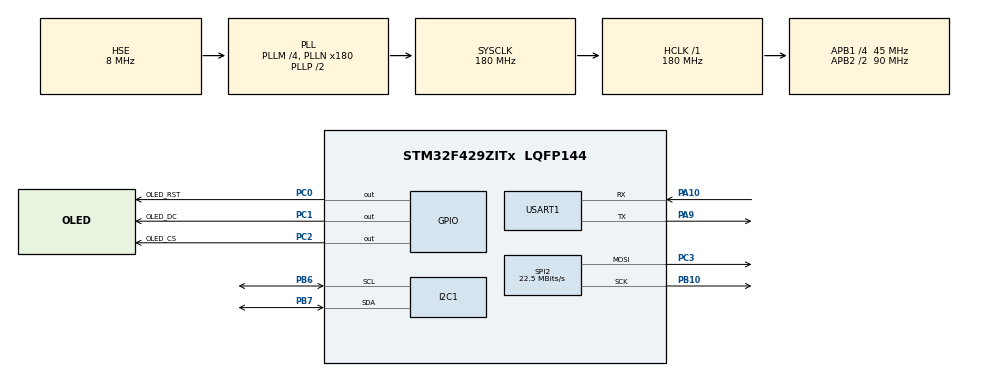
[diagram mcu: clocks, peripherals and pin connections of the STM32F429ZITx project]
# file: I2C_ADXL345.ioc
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Mcu.Family=STM32F4
Mcu.Name=STM32F429ZITx
Mcu.Package=LQFP144
NVIC.PriorityGroup=NVIC_PRIORITYGROUP_4
NVIC.USART1_IRQn=true\:0\:0\:false\:true\:true\:1\:true\:true\:true
PA10.Mode=Asynchronous
PA10.Signal=USART1_RX
PA9.Mode=Asynchronous
PA9.Signal=USART1_TX
PB10.Mode=TX_Only_Simplex_Unidirect_Master
PB10.Signal=SPI2_SCK
PB6.Mode=I2C
PB6.Signal=I2C1_SCL
PB7.Mode=I2C
PB7.Signal=I2C1_SDA
PC0.GPIO_Label=OLED_RST
PC0.GPIO_PuPd=GPIO_PULLUP
PC0.GPIO_Speed=GPIO_SPEED_FREQ_HIGH
PC0.PinState=GPIO_PIN_SET
PC0.Signal=GPIO_Output
PC1.GPIO_Label=OLED_DC
PC1.GPIO_PuPd=GPIO_PULLUP
PC1.GPIO_Speed=GPIO_SPEED_FREQ_HIGH
PC1.PinState=GPIO_PIN_SET
PC1.Signal=GPIO_Output
PC2.GPIO_Label=OLED_CS
PC2.GPIO_PuPd=GPIO_PULLUP
PC2.GPIO_Speed=GPIO_SPEED_FREQ_HIGH
PC2.PinState=GPIO_PIN_SET
PC2.Signal=GPIO_Output
PC3.Mode=TX_Only_Simplex_Unidirect_Master
PC3.Signal=SPI2_MOSI
PH0/OSC_IN.Mode=HSE-External-Oscillator
PH0/OSC_IN.Signal=RCC_OSC_IN
PH1/OSC_OUT.Mode=HSE-External-Oscillator
PH1/OSC_OUT.Signal=RCC_OSC_OUT
ProjectManager.HeapSize=0x200
ProjectManager.StackSize=0x400
ProjectManager.TargetToolchain=STM32CubeIDE
RCC.48MHZClocksFreq_Value=90000000
RCC.AHBFreq_Value=180000000
RCC.APB1CLKDivider=RCC_HCLK_DIV4
RCC.APB1Freq_Value=45000000
RCC.APB1TimFreq_Value=90000000
RCC.APB2CLKDivider=RCC_HCLK_DIV2
RCC.APB2Freq_Value=90000000
RCC.APB2TimFreq_Value=180000000
RCC.CortexFreq_Value=180000000
RCC.HCLKFreq_Value=180000000
RCC.HSE_VALUE=8000000
RCC.HSI_VALUE=16000000
RCC.LSE_VALUE=32768
RCC.PLLM=4
RCC.PLLN=180
RCC.PLLSourceVirtual=RCC_PLLSOURCE_HSE
RCC.SYSCLKFreq_VALUE=180000000
RCC.SYSCLKSource=RCC_SYSCLKSOURCE_PLLCLK
RCC.VCOOutputFreq_Value=360000000
SPI2.BaudRatePrescaler=SPI_BAUDRATEPRESCALER_2
SPI2.CalculateBaudRate=22.5 MBits/s
SPI2.Direction=SPI_DIRECTION_2LINES
SPI2.Mode=SPI_MODE_MASTER
SPI2.VirtualType=VM_MASTER
USART1.VirtualMode=VM_ASYNC
board=custom

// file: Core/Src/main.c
/* USER CODE BEGIN Header */
/**
 ******************************************************************************
 * @file           : main.c
 * @brief          : Main program body
 ******************************************************************************
 * @attention
 *
 * Copyright (c) 2023 STMicroelectronics.
 * All rights reserved.
 *
 * This software is licensed under terms that can be found in the LICENSE file
 * in the root directory of this software component.
 * If no LICENSE file comes with this software, it is provided AS-IS.
 *
 ******************************************************************************
 */
/* USER CODE END Header */
#include "main.h"

/* USER CODE BEGIN Includes */
#include "stdio.h"

//#include "stm32f4xx_hal.h"

#include "u8g2.h"
#include "adxl345.h"

/* USER CODE END Includes */

/* USER CODE BEGIN PD */
#define POINT_MODE
/* USER CODE END PD */

I2C_HandleTypeDef hi2c1;

SPI_HandleTypeDef hspi2;

UART_HandleTypeDef huart1;

/* USER CODE BEGIN PV */

char buffer[10];

typedef struct _point {
	int x;
	int y;
} Point;

Point point[9];

float readings[3] = { 0, 0, 0 }; // X, Y and Z buffer
/* USER CODE END PV */

void SystemClock_Config(void);
static void MX_GPIO_Init(void);
static void MX_I2C1_Init(void);
static void MX_SPI2_Init(void);
static void MX_USART1_UART_Init(void);
static void MX_NVIC_Init(void);

/* USER CODE BEGIN 0 */
int __io_putchar(int ch) {
	(void) HAL_UART_Transmit(&huart1, (uint8_t*) &ch, 1, 100);
	return ch;
}

extern uint8_t u8x8_stm32_gpio_and_delay(u8x8_t *u8x8, uint8_t msg,
		uint8_t arg_int, void *arg_ptr);
extern uint8_t u8x8_byte_stm32_hw_spi(u8x8_t *u8x8, uint8_t msg,
		uint8_t arg_int, void *arg_ptr);

static u8g2_t u8g2;
/* USER CODE END 0 */

int main(void) {

	/* MCU Configuration--------------------------------------------------------*/

	/* Reset of all peripherals, Initializes the Flash interface and the Systick. */
	HAL_Init();

	/* Configure the system clock */
	SystemClock_Config();

	/* Initialize all configured peripherals */
	MX_GPIO_Init();
	MX_I2C1_Init();
	MX_SPI2_Init();
	MX_USART1_UART_Init();

	/* Initialize interrupts */
	MX_NVIC_Init();
	/* USER CODE BEGIN 2 */

	u8g2_Setup_ssd1306_128x64_noname_f(&u8g2, U8G2_R0, u8x8_byte_stm32_hw_spi,
			u8x8_stm32_gpio_and_delay);

	u8g2_InitDisplay(&u8g2);
	u8g2_SetPowerSave(&u8g2, 0);

	/* USER CODE END 2 */

	/* Infinite loop */
	/* USER CODE BEGIN WHILE */

	ADXL345Init();
	accelAverage();

	point[0].x = 64;
	point[0].y = 32;

	point[1].x = 63;
	point[1].y = 31;

	point[2].x = 64;
	point[2].y = 31;

	point[3].x = 65;
	point[3].y = 31;

	point[4].x = 63;
	point[4].y = 32;

	point[5].x = 65;
	point[5].y = 32;

	point[6].x = 63;
	point[6].y = 33;

	point[7].x = 64;
	point[7].y = 33;

	point[8].x = 65;
	point[8].y = 33;

	for (int i = 0; i < 9; i++) {
		u8g2_DrawPixel(&u8g2, point[i].x, point[i].y);
	}

	while (1) {
		/* USER CODE END WHILE */

		/* USER CODE BEGIN 3 */

		u8g2_FirstPage(&u8g2);

		do {
			int16_t x, y, z = 0;
			multiDataRead(&x, &y, &z);
			x -= readings[0];
			y -= readings[1];
			z -= readings[2];
			z += 256;
			printf("%d %d %d\r\n", x, y, z);

#ifdef POINT_MODE
	  			int pixel_y=x*32/512;
	  			int pixel_x=y*64/512;

	  			for(int i=0;i<9;i++)
	  			{
	  				u8g2_DrawPixel(&u8g2,point[i].x-pixel_x,point[i].y-pixel_y);
	  				point[i].x=point[i].x-pixel_x;
	  				point[i].y=point[i].y-pixel_y;

	  				if(point[i].x>127)
	  				{
	  					point[i].x=0;
	  				}
	  				else if(point[i].x<0)
	  				{
	  					point[i].x=127;
	  				}

	  				if(point[i].y>63)
	  				{
	  					point[i].y=0;
	  				}
	  				else if(point[i].y<0)
	  				{
	  					point[i].y=63;
	  				}
	  			}

#else

			itoa(y, buffer, 10);
			u8g2_SetFont(&u8g2, u8g2_font_5x7_tr);
			u8g2_DrawStrX2(&u8g2, 0, 15, "x:");
			u8g2_DrawStrX2(&u8g2, 20, 15, buffer);

			itoa(x, buffer, 10);
			u8g2_SetFont(&u8g2, u8g2_font_5x7_tr);
			u8g2_DrawStrX2(&u8g2, 0, 30, "y:");
			u8g2_DrawStrX2(&u8g2, 20, 30, buffer);

			itoa(z, buffer, 10);
			u8g2_SetFont(&u8g2, u8g2_font_5x7_tr);
			u8g2_DrawStrX2(&u8g2, 0, 45, "z:");
			u8g2_DrawStrX2(&u8g2, 20, 45, buffer);
#endif

		} while (u8g2_NextPage(&u8g2));

	}
	/* USER CODE END 3 */
}

void SystemClock_Config(void) {
	RCC_OscInitTypeDef RCC_OscInitStruct = { 0 };
	RCC_ClkInitTypeDef RCC_ClkInitStruct = { 0 };

	/** Configure the main internal regulator output voltage
	 */
	__HAL_RCC_PWR_CLK_ENABLE();
	__HAL_PWR_VOLTAGESCALING_CONFIG(PWR_REGULATOR_VOLTAGE_SCALE1);

	/** Initializes the RCC Oscillators according to the specified parameters
	 * in the RCC_OscInitTypeDef structure.
	 */
	RCC_OscInitStruct.OscillatorType = RCC_OSCILLATORTYPE_HSE;
	RCC_OscInitStruct.HSEState = RCC_HSE_ON;
	RCC_OscInitStruct.PLL.PLLState = RCC_PLL_ON;
	RCC_OscInitStruct.PLL.PLLSource = RCC_PLLSOURCE_HSE;
	RCC_OscInitStruct.PLL.PLLM = 4;
	RCC_OscInitStruct.PLL.PLLN = 180;
	RCC_OscInitStruct.PLL.PLLP = RCC_PLLP_DIV2;
	RCC_OscInitStruct.PLL.PLLQ = 4;
	if (HAL_RCC_OscConfig(&RCC_OscInitStruct) != HAL_OK) {
		Error_Handler();
	}

	/** Activate the Over-Drive mode
	 */
	if (HAL_PWREx_EnableOverDrive() != HAL_OK) {
		Error_Handler();
	}

	/** Initializes the CPU, AHB and APB buses clocks
	 */
	RCC_ClkInitStruct.ClockType = RCC_CLOCKTYPE_HCLK | RCC_CLOCKTYPE_SYSCLK
			| RCC_CLOCKTYPE_PCLK1 | RCC_CLOCKTYPE_PCLK2;
	RCC_ClkInitStruct.SYSCLKSource = RCC_SYSCLKSOURCE_PLLCLK;
	RCC_ClkInitStruct.AHBCLKDivider = RCC_SYSCLK_DIV1;
	RCC_ClkInitStruct.APB1CLKDivider = RCC_HCLK_DIV4;
	RCC_ClkInitStruct.APB2CLKDivider = RCC_HCLK_DIV2;

	if (HAL_RCC_ClockConfig(&RCC_ClkInitStruct, FLASH_LATENCY_5) != HAL_OK) {
		Error_Handler();
	}
}

/**
 * @brief NVIC Configuration.
 * @retval None
 */
static void MX_NVIC_Init(void) {
	/* USART1_IRQn interrupt configuration */
	HAL_NVIC_SetPriority(USART1_IRQn, 0, 0);
	HAL_NVIC_EnableIRQ(USART1_IRQn);
}

static void MX_I2C1_Init(void) {

	hi2c1.Instance = I2C1;
	hi2c1.Init.ClockSpeed = 100000;
	hi2c1.Init.DutyCycle = I2C_DUTYCYCLE_2;
	hi2c1.Init.OwnAddress1 = 0;
	hi2c1.Init.AddressingMode = I2C_ADDRESSINGMODE_7BIT;
	hi2c1.Init.DualAddressMode = I2C_DUALADDRESS_DISABLE;
	hi2c1.Init.OwnAddress2 = 0;
	hi2c1.Init.GeneralCallMode = I2C_GENERALCALL_DISABLE;
	hi2c1.Init.NoStretchMode = I2C_NOSTRETCH_DISABLE;
	if (HAL_I2C_Init(&hi2c1) != HAL_OK) {
		Error_Handler();
	}

	/** Configure Analogue filter
	 */
	if (HAL_I2CEx_ConfigAnalogFilter(&hi2c1, I2C_ANALOGFILTER_ENABLE)
			!= HAL_OK) {
		Error_Handler();
	}

	/** Configure Digital filter
	 */
	if (HAL_I2CEx_ConfigDigitalFilter(&hi2c1, 0) != HAL_OK) {
		Error_Handler();
	}

}

static void MX_SPI2_Init(void) {

	/* SPI2 parameter configuration*/
	hspi2.Instance = SPI2;
	hspi2.Init.Mode = SPI_MODE_MASTER;
	hspi2.Init.Direction = SPI_DIRECTION_2LINES;
	hspi2.Init.DataSize = SPI_DATASIZE_8BIT;
	hspi2.Init.CLKPolarity = SPI_POLARITY_LOW;
	hspi2.Init.CLKPhase = SPI_PHASE_1EDGE;
	hspi2.Init.NSS = SPI_NSS_SOFT;
	hspi2.Init.BaudRatePrescaler = SPI_BAUDRATEPRESCALER_2;
	hspi2.Init.FirstBit = SPI_FIRSTBIT_MSB;
	hspi2.Init.TIMode = SPI_TIMODE_DISABLE;
	hspi2.Init.CRCCalculation = SPI_CRCCALCULATION_DISABLE;
	hspi2.Init.CRCPolynomial = 10;
	if (HAL_SPI_Init(&hspi2) != HAL_OK) {
		Error_Handler();
	}

}

static void MX_USART1_UART_Init(void) {

	huart1.Instance = USART1;
	huart1.Init.BaudRate = 115200;
	huart1.Init.WordLength = UART_WORDLENGTH_8B;
	huart1.Init.StopBits = UART_STOPBITS_1;
	huart1.Init.Parity = UART_PARITY_NONE;
	huart1.Init.Mode = UART_MODE_TX_RX;
	huart1.Init.HwFlowCtl = UART_HWCONTROL_NONE;
	huart1.Init.OverSampling = UART_OVERSAMPLING_16;
	if (HAL_UART_Init(&huart1) != HAL_OK) {
		Error_Handler();
	}

}

static void MX_GPIO_Init(void) {
	GPIO_InitTypeDef GPIO_InitStruct = { 0 };

	/* GPIO Ports Clock Enable */
	__HAL_RCC_GPIOH_CLK_ENABLE();
	__HAL_RCC_GPIOC_CLK_ENABLE();
	__HAL_RCC_GPIOB_CLK_ENABLE();
	__HAL_RCC_GPIOA_CLK_ENABLE();

	/*Configure GPIO pin Output Level */
	HAL_GPIO_WritePin(GPIOC, OLED_RST_Pin | OLED_DC_Pin | OLED_CS_Pin,
			GPIO_PIN_SET);

	/*Configure GPIO pins : OLED_RST_Pin OLED_DC_Pin OLED_CS_Pin */
	GPIO_InitStruct.Pin = OLED_RST_Pin | OLED_DC_Pin | OLED_CS_Pin;
	GPIO_InitStruct.Mode = GPIO_MODE_OUTPUT_PP;
	GPIO_InitStruct.Pull = GPIO_PULLUP;
	GPIO_InitStruct.Speed = GPIO_SPEED_FREQ_HIGH;
	HAL_GPIO_Init(GPIOC, &GPIO_InitStruct);

}

void Error_Handler(void) {
	__disable_irq();
	while (1) {
	}
}
